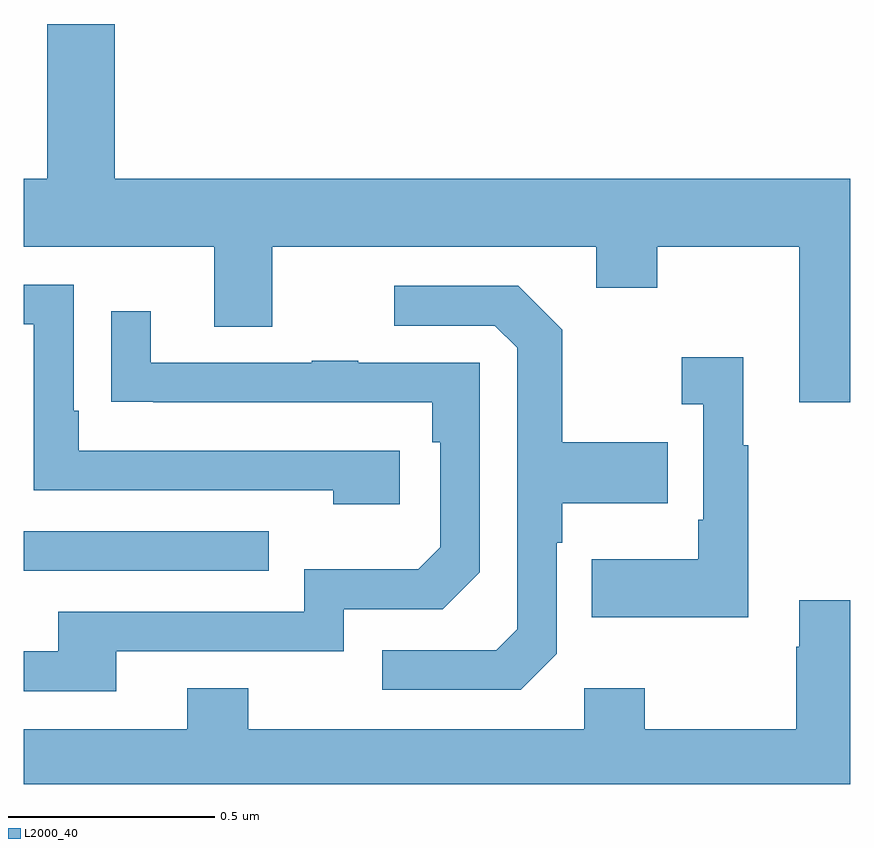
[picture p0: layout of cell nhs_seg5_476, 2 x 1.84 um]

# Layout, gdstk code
import gdstk
lib = gdstk.Library(unit=1e-6, precision=1e-09)
def R(c, l, rs):  # rectangles x0, y0, x1, y1
    for r in rs: c.add(gdstk.rectangle(r[:2], r[2:], *l))
def P(c, l, *ps):  # polygons
    for p in ps: c.add(gdstk.Polygon(p, *l))
L2000_40 = (2000, 40)

nhs_seg5_476 = lib.new_cell('nhs_seg5_476')
R(nhs_seg5_476, L2000_40, [(117,849.315,117.593,849.411)])
P(nhs_seg5_476, L2000_40, [(119,850.264),(117.22,850.264),(117.22,850.639),(117.056,850.639),(117.056,850.264),(117,850.264),(117,850.1),(117.461,850.1),(117.461,849.906),(117.601,849.906),(117.601,850.1),(118.385,850.1),(118.385,850.001),(118.533,850.001),(118.533,850.1),(118.877,850.1),(118.877,849.723),(119,849.723)],
  [(117.91,849.606),(117.133,849.606),(117.133,849.703),(117.12,849.703),(117.12,850.008),(117,850.008),(117,849.912),(117.024,849.912),(117.024,849.51),(117.749,849.51),(117.749,849.476),(117.91,849.476)],
  [(118.29,849.114),(118.29,849.383),(118.303,849.383),(118.303,849.479),(118.559,849.479),(118.559,849.627),(118.303,849.627),(118.303,849.899),(118.197,850.005),(117.897,850.005),(117.897,849.909),(118.14,849.909),(118.194,849.855),(118.194,849.174),(118.143,849.123),(117.867,849.123),(117.867,849.027),(118.203,849.027)],
  [(117.223,849.12),(117.774,849.12),(117.774,849.222),(118.014,849.222),(118.104,849.312),(118.104,849.819),(117.809,849.819),(117.809,849.824),(117.697,849.824),(117.697,849.819),(117.307,849.819),(117.307,849.943),(117.211,849.943),(117.211,849.724),(117.313,849.724),(117.313,849.723),(117.988,849.723),(117.988,849.626),(118.008,849.626),(118.008,849.372),(117.955,849.319),(117.678,849.319),(117.678,849.216),(117.083,849.216),(117.083,849.12),(117,849.12),(117,849.024),(117.223,849.024)],
  [(118.753,849.619),(118.741,849.619),(118.741,849.832),(118.593,849.832),(118.593,849.719),(118.644,849.719),(118.644,849.439),(118.632,849.439),(118.632,849.343),(118.375,849.343),(118.375,849.203),(118.753,849.203)],
  [(119,849.244),(118.877,849.244),(118.877,849.131),(118.87,849.131),(118.87,848.932),(118.503,848.932),(118.503,849.031),(118.356,849.031),(118.356,848.932),(117.543,848.932),(117.543,849.031),(117.395,849.031),(117.395,848.932),(117,848.932),(117,848.799),(119,848.799)])

lib.write_gds('nhs_seg5_476.gds')
